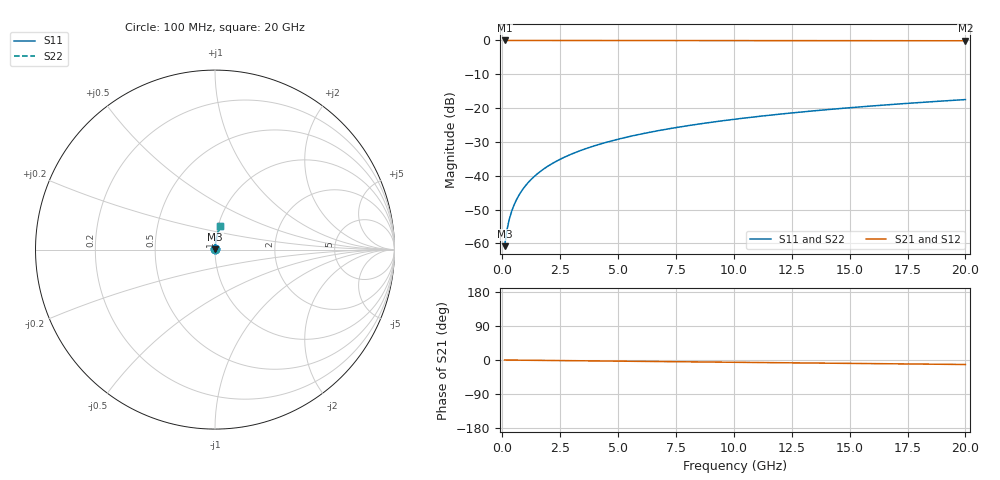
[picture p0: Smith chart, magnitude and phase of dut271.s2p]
! Touchstone file exported from HFSS 2026.1.0
!  File:  C:/ffzhzh/LocalFiles/Ansys_Project_Files/temp_train_BSMRDL_271_1782988918_41620.aedt
!  Generated:  06:43:11 PM Jul  2, 2026
!  Design:  BSMRDL
!  Project:  temp_train_BSMRDL_271_1782988918_41620
! Variables:
!  h_bsmrdl = 5.17um
!  h_ox = 20um
!  h_rdl = 5um
!  h_sub = 80um
!  h_tmrdl = 5um
!  h_tsv = 80um
!  h_via = 3um
!  l_bsmrdl = 121.05um
!  l_sub = 521.05um
!  l_tmrdl = 200um
!  m_sub = 200um
!  pitch = 56.95um
!  r_tsv = 6um
!  s_tmrdl = 10um
!  w_bsmrdl = 21.92um
!  w_sub = 500um
!  w_tmrdl = 12um
!  x_tsv_center1 = 206um
!  x_tsv_center2 = 348.97um
!  x_tsv_center3 = 560.97um
!  x_tsv_center4 = 703.94um
!  x_tsv_center5 = 915.94um
!  x_tsv_center6 = 1058.91um
# GHz S MA R 50.000000
! Terminal data exported
! Port[1] = BSM_RDL1_1_T1
! Port[2] = BSM_RDL1_1_T2
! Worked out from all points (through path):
!   200 points, 100 MHz to 20 GHz, reference 50 ohm
!   highest |S21| = 0.00 dB at 100 MHz (marker M1); lowest = -0.1 dB at 20 GHz (marker M2)
!   group delay of S21, straight-line fit = 1.65 ps
!   lowest |S11| = -60.8 dB at 100 MHz (marker M3), VSWR 1.00, Z = 50.1 + j0.0745 ohm
!   |S11| at or under -10 dB: start of sweep to end of sweep
!   |S22| runs from -60.8 to -17.5 dB; largest |S21 - S12| = 3.3e-15
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0.1  0.0009121 54.7  0.9995 -0.1  0.9995 -0.1  0.0009121 54.7
! Gamma 0 0 0 0
! Port Impedance 50 0 50 0
0.2  0.001576 69.3  0.9994 -0.1  0.9994 -0.1  0.001576 69.3
0.3  0.002266 74.9  0.9994 -0.2  0.9994 -0.2  0.002266 74.9
0.4  0.002957 77.9  0.9994 -0.2  0.9994 -0.2  0.002957 77.9
0.5  0.003649 79.8  0.9994 -0.3  0.9994 -0.3  0.003649 79.8
0.7  0.005033 82.0  0.9993 -0.4  0.9993 -0.4  0.005033 82.0
0.8  0.005727 82.8  0.9993 -0.5  0.9993 -0.5  0.005727 82.8
1  0.007118 83.8  0.9993 -0.6  0.9993 -0.6  0.007118 83.8
1.2  0.008511 84.4  0.9992 -0.7  0.9992 -0.7  0.008511 84.4
1.4  0.009905 84.9  0.9992 -0.9  0.9992 -0.9  0.009905 84.9
1.7  0.012 85.2  0.9991 -1.0  0.9991 -1.0  0.012 85.2
2  0.01408 85.4  0.9991 -1.2  0.9991 -1.2  0.01408 85.4
2.7  0.01894 85.5  0.9989 -1.6  0.9989 -1.6  0.01894 85.5
3.5  0.02446 85.4  0.9986 -2.1  0.9986 -2.1  0.02446 85.4
4.2  0.02925 85.1  0.9984 -2.6  0.9984 -2.6  0.02925 85.1
5  0.0347 84.8  0.9981 -3.0  0.9981 -3.0  0.0347 84.8
6.8  0.04687 83.9  0.9973 -4.1  0.9973 -4.1  0.04687 83.9
8.3  0.05693 83.2  0.9966 -5.0  0.9966 -5.0  0.05693 83.2
10.1  0.06894 82.3  0.9956 -6.1  0.9956 -6.1  0.06894 82.3
13.4  0.0908 80.5  0.9936 -8.0  0.9936 -8.0  0.0908 80.5
16.7  0.1124 78.7  0.9911 -9.9  0.9911 -9.9  0.1124 78.7
20  0.1337 76.9  0.9882 -11.9  0.9882 -11.9  0.1337 76.9
